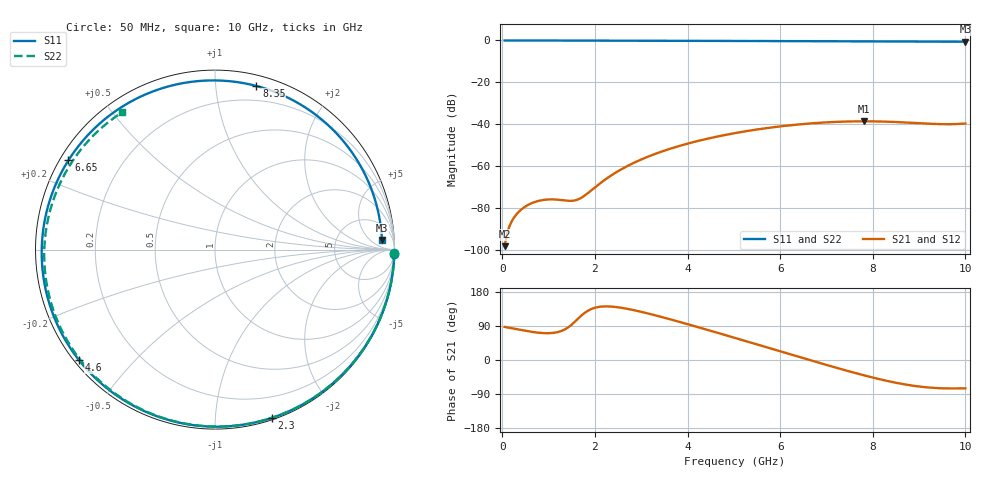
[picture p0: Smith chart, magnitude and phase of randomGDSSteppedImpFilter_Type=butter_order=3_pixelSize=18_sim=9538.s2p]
! freq	dB(S11)	phase(S11)	dB(S12)	phase(S12)
!  dB(S21)	phase(S21)	dB(S22)	phase(S22)
!S-par simulation data
#  GHz  S  DB  R 50
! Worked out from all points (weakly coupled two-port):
!   200 points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, 50 MHz to 10 GHz, reference 50 ohm
!   highest |S21| = -38.60 dB at 7.8 GHz (marker M1); lowest = -98.2 dB at 50 MHz (marker M2)
!   lowest |S11| = -0.6 dB at 10 GHz (marker M3), VSWR 28.30, Z = 851 + j692 ohm
!   |S11| at or under -10 dB: nowhere
!   |S22| runs from -0.7 to 0.0 dB; largest |S21 - S12| = 0
!   S11 on the Smith chart (normalised r, x): 50 MHz: 1, -74; 2.3 GHz: 0.02, -1.39; 4.6 GHz: 0.01, -0.36; 6.65 GHz: 0.02, +0.28; 8.35 GHz: 0.08, +1.28; 10 GHz: 17, +14
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0.05  -0.00 -1.5  -98.20 87.4  -98.20 87.4  -0.01 -1.2
0.45  -0.02 -14.2  -80.00 78.1  -80.00 78.1  -0.01 -10.7
0.65  -0.03 -20.5  -77.54 74.0  -77.54 74.0  -0.02 -15.5
0.85  -0.03 -26.8  -76.27 71.3  -76.27 71.3  -0.02 -20.2
1.5  -0.06 -46.9  -76.55 93.6  -76.55 93.6  -0.04 -35.5
1.75  -0.07 -54.6  -74.48 121.6  -74.48 121.6  -0.05 -41.3
2.3  -0.09 -71.3  -65.20 141.3  -65.20 141.3  -0.07 -53.8
2.8  -0.11 -86.4  -58.85 132.6  -58.85 132.6  -0.08 -65.0
3.4  -0.14 -104.3  -53.36 114.8  -53.36 114.8  -0.10 -78.3
4  -0.17 -122.4  -49.26 94.6  -49.26 94.6  -0.13 -91.3
4.6  -0.21 -140.8  -46.07 73.5  -46.07 73.5  -0.15 -104.1
5.05  -0.24 -155.1  -44.13 57.4  -44.13 57.4  -0.18 -113.6
5.9  -0.32 176.4  -41.29 26.6  -41.29 26.6  -0.23 -131.7
6.65  -0.39 148.6  -39.62 -0.5  -39.62 -0.5  -0.29 -148.0
6.7  -0.39 146.7  -39.53 -2.3  -39.53 -2.3  -0.30 -149.1
7.3  -0.45 122.3  -38.80 -23.5  -38.80 -23.5  -0.35 -162.7
7.8  -0.50 100.6  -38.60 -40.1  -38.60 -40.1  -0.41 -174.5
8.35  -0.53 75.8  -38.82 -56.3  -38.82 -56.3  -0.47 171.8
8.75  -0.55 57.5  -39.21 -65.6  -39.21 -65.6  -0.52 161.3
9.2  -0.57 37.2  -39.73 -72.5  -39.73 -72.5  -0.59 148.7
9.6  -0.59 19.8  -39.97 -74.9  -39.97 -74.9  -0.64 136.8
10  -0.61 3.3  -39.66 -74.8  -39.66 -74.8  -0.69 124.1
